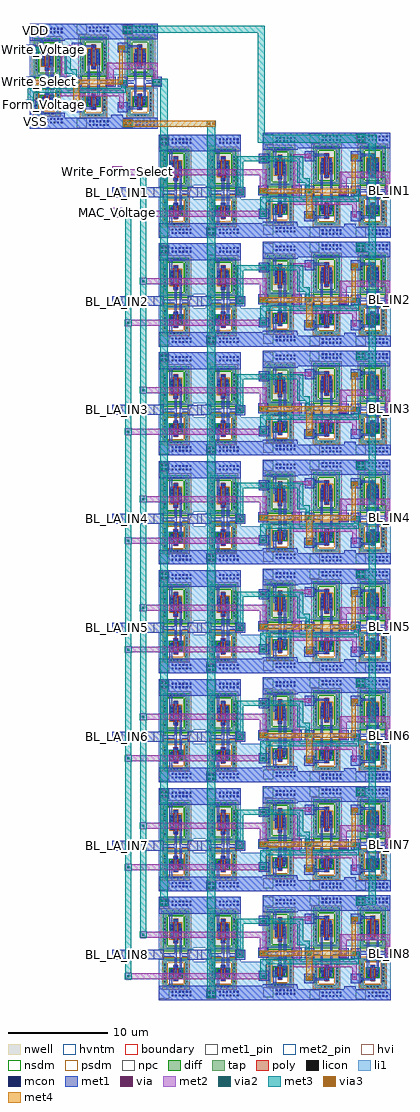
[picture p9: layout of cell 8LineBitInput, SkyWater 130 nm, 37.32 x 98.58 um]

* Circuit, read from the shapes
.subckt 8LineBitInput BL_IN1 BL_IN2 BL_IN3 BL_IN4 BL_IN5 BL_IN6 BL_IN7 BL_IN8 BL_LA_IN1 BL_LA_IN2 BL_LA_IN3 BL_LA_IN4 BL_LA_IN5 BL_LA_IN6 BL_LA_IN7 BL_LA_IN8 Form_Voltage MAC_Voltage VDD VSS Write_Form_Select Write_Select Write_Voltage
XM1 2-1MUX_0/TransmissionGate_1/SN Write_Select VSS VSS sky130_fd_pr__nfet_g5v0d10v5 w=0.75 l=0.5
XM2 2-1MUX_0/OUT Write_Select Write_Voltage VSS sky130_fd_pr__nfet_g5v0d10v5 w=0.75 l=0.5
XM3 2-1MUX_0/OUT 2-1MUX_0/TransmissionGate_1/SN Form_Voltage VSS sky130_fd_pr__nfet_g5v0d10v5 w=0.75 l=0.5
XM4 1LineBitInput_1/Buffer_0/Inverter_0/Vin BL_LA_IN8 VSS VSS sky130_fd_pr__nfet_g5v0d10v5 w=0.75 l=0.5
XM5 1LineBitInput_2/Buffer_0/Inverter_0/Vin BL_LA_IN7 VSS VSS sky130_fd_pr__nfet_g5v0d10v5 w=0.75 l=0.5
XM6 1LineBitInput_3/Buffer_0/Inverter_0/Vin BL_LA_IN6 VSS VSS sky130_fd_pr__nfet_g5v0d10v5 w=0.75 l=0.5
XM7 1LineBitInput_4/Buffer_0/Inverter_0/Vin BL_LA_IN5 VSS VSS sky130_fd_pr__nfet_g5v0d10v5 w=0.75 l=0.5
XM8 1LineBitInput_5/Buffer_0/Inverter_0/Vin BL_LA_IN4 VSS VSS sky130_fd_pr__nfet_g5v0d10v5 w=0.75 l=0.5
XM9 1LineBitInput_6/Buffer_0/Inverter_0/Vin BL_LA_IN3 VSS VSS sky130_fd_pr__nfet_g5v0d10v5 w=0.75 l=0.5
XM10 1LineBitInput_7/Buffer_0/Inverter_0/Vin BL_LA_IN2 VSS VSS sky130_fd_pr__nfet_g5v0d10v5 w=0.75 l=0.5
XM11 1LineBitInput_8/Buffer_0/Inverter_0/Vin BL_LA_IN1 VSS VSS sky130_fd_pr__nfet_g5v0d10v5 w=0.75 l=0.5
XM12 1LineBitInput_1/2-1MUX_1/A 1LineBitInput_1/Buffer_0/Inverter_0/Vin VSS VSS sky130_fd_pr__nfet_g5v0d10v5 w=0.75 l=0.5
XM13 1LineBitInput_2/2-1MUX_1/A 1LineBitInput_2/Buffer_0/Inverter_0/Vin VSS VSS sky130_fd_pr__nfet_g5v0d10v5 w=0.75 l=0.5
XM14 1LineBitInput_3/2-1MUX_1/A 1LineBitInput_3/Buffer_0/Inverter_0/Vin VSS VSS sky130_fd_pr__nfet_g5v0d10v5 w=0.75 l=0.5
XM15 1LineBitInput_4/2-1MUX_1/A 1LineBitInput_4/Buffer_0/Inverter_0/Vin VSS VSS sky130_fd_pr__nfet_g5v0d10v5 w=0.75 l=0.5
XM16 1LineBitInput_5/2-1MUX_1/A 1LineBitInput_5/Buffer_0/Inverter_0/Vin VSS VSS sky130_fd_pr__nfet_g5v0d10v5 w=0.75 l=0.5
XM17 1LineBitInput_6/2-1MUX_1/A 1LineBitInput_6/Buffer_0/Inverter_0/Vin VSS VSS sky130_fd_pr__nfet_g5v0d10v5 w=0.75 l=0.5
XM18 1LineBitInput_7/2-1MUX_1/A 1LineBitInput_7/Buffer_0/Inverter_0/Vin VSS VSS sky130_fd_pr__nfet_g5v0d10v5 w=0.75 l=0.5
XM19 1LineBitInput_8/2-1MUX_1/A 1LineBitInput_8/Buffer_0/Inverter_0/Vin VSS VSS sky130_fd_pr__nfet_g5v0d10v5 w=0.75 l=0.5
XM20 1LineBitInput_1/2-1MUX_1/TransmissionGate_1/SN Write_Form_Select VSS VSS sky130_fd_pr__nfet_g5v0d10v5 w=0.75 l=0.5
XM21 1LineBitInput_2/2-1MUX_1/TransmissionGate_1/SN Write_Form_Select VSS VSS sky130_fd_pr__nfet_g5v0d10v5 w=0.75 l=0.5
XM22 1LineBitInput_3/2-1MUX_1/TransmissionGate_1/SN Write_Form_Select VSS VSS sky130_fd_pr__nfet_g5v0d10v5 w=0.75 l=0.5
XM23 1LineBitInput_4/2-1MUX_1/TransmissionGate_1/SN Write_Form_Select VSS VSS sky130_fd_pr__nfet_g5v0d10v5 w=0.75 l=0.5
XM24 1LineBitInput_5/2-1MUX_1/TransmissionGate_1/SN Write_Form_Select VSS VSS sky130_fd_pr__nfet_g5v0d10v5 w=0.75 l=0.5
XM25 1LineBitInput_6/2-1MUX_1/TransmissionGate_1/SN Write_Form_Select VSS VSS sky130_fd_pr__nfet_g5v0d10v5 w=0.75 l=0.5
XM26 1LineBitInput_7/2-1MUX_1/TransmissionGate_1/SN Write_Form_Select VSS VSS sky130_fd_pr__nfet_g5v0d10v5 w=0.75 l=0.5
XM27 1LineBitInput_8/2-1MUX_1/TransmissionGate_1/SN Write_Form_Select VSS VSS sky130_fd_pr__nfet_g5v0d10v5 w=0.75 l=0.5
XM28 BL_IN8 Write_Form_Select 1LineBitInput_1/2-1MUX_1/A VSS sky130_fd_pr__nfet_g5v0d10v5 w=0.75 l=0.5
XM29 BL_IN7 Write_Form_Select 1LineBitInput_2/2-1MUX_1/A VSS sky130_fd_pr__nfet_g5v0d10v5 w=0.75 l=0.5
XM30 BL_IN6 Write_Form_Select 1LineBitInput_3/2-1MUX_1/A VSS sky130_fd_pr__nfet_g5v0d10v5 w=0.75 l=0.5
XM31 BL_IN5 Write_Form_Select 1LineBitInput_4/2-1MUX_1/A VSS sky130_fd_pr__nfet_g5v0d10v5 w=0.75 l=0.5
XM32 BL_IN4 Write_Form_Select 1LineBitInput_5/2-1MUX_1/A VSS sky130_fd_pr__nfet_g5v0d10v5 w=0.75 l=0.5
XM33 BL_IN3 Write_Form_Select 1LineBitInput_6/2-1MUX_1/A VSS sky130_fd_pr__nfet_g5v0d10v5 w=0.75 l=0.5
XM34 BL_IN2 Write_Form_Select 1LineBitInput_7/2-1MUX_1/A VSS sky130_fd_pr__nfet_g5v0d10v5 w=0.75 l=0.5
XM35 BL_IN1 Write_Form_Select 1LineBitInput_8/2-1MUX_1/A VSS sky130_fd_pr__nfet_g5v0d10v5 w=0.75 l=0.5
XM36 BL_IN8 1LineBitInput_1/2-1MUX_1/TransmissionGate_1/SN MAC_Voltage VSS sky130_fd_pr__nfet_g5v0d10v5 w=0.75 l=0.5
XM37 BL_IN7 1LineBitInput_2/2-1MUX_1/TransmissionGate_1/SN MAC_Voltage VSS sky130_fd_pr__nfet_g5v0d10v5 w=0.75 l=0.5
XM38 BL_IN6 1LineBitInput_3/2-1MUX_1/TransmissionGate_1/SN MAC_Voltage VSS sky130_fd_pr__nfet_g5v0d10v5 w=0.75 l=0.5
XM39 BL_IN5 1LineBitInput_4/2-1MUX_1/TransmissionGate_1/SN MAC_Voltage VSS sky130_fd_pr__nfet_g5v0d10v5 w=0.75 l=0.5
XM40 BL_IN4 1LineBitInput_5/2-1MUX_1/TransmissionGate_1/SN MAC_Voltage VSS sky130_fd_pr__nfet_g5v0d10v5 w=0.75 l=0.5
XM41 BL_IN3 1LineBitInput_6/2-1MUX_1/TransmissionGate_1/SN MAC_Voltage VSS sky130_fd_pr__nfet_g5v0d10v5 w=0.75 l=0.5
XM42 BL_IN2 1LineBitInput_7/2-1MUX_1/TransmissionGate_1/SN MAC_Voltage VSS sky130_fd_pr__nfet_g5v0d10v5 w=0.75 l=0.5
XM43 BL_IN1 1LineBitInput_8/2-1MUX_1/TransmissionGate_1/SN MAC_Voltage VSS sky130_fd_pr__nfet_g5v0d10v5 w=0.75 l=0.5
XM44 2-1MUX_0/TransmissionGate_1/SN Write_Select VDD VDD sky130_fd_pr__pfet_g5v0d10v5 w=1.5 l=0.5
XM45 2-1MUX_0/OUT 2-1MUX_0/TransmissionGate_1/SN Write_Voltage VDD sky130_fd_pr__pfet_g5v0d10v5 w=1.5 l=0.5
XM46 2-1MUX_0/OUT Write_Select Form_Voltage VDD sky130_fd_pr__pfet_g5v0d10v5 w=1.5 l=0.5
XM47 1LineBitInput_1/Buffer_0/Inverter_0/Vin BL_LA_IN8 2-1MUX_0/OUT 2-1MUX_0/OUT sky130_fd_pr__pfet_g5v0d10v5 w=1.5 l=0.5
XM48 1LineBitInput_2/Buffer_0/Inverter_0/Vin BL_LA_IN7 2-1MUX_0/OUT 2-1MUX_0/OUT sky130_fd_pr__pfet_g5v0d10v5 w=1.5 l=0.5
XM49 1LineBitInput_3/Buffer_0/Inverter_0/Vin BL_LA_IN6 2-1MUX_0/OUT 2-1MUX_0/OUT sky130_fd_pr__pfet_g5v0d10v5 w=1.5 l=0.5
XM50 1LineBitInput_4/Buffer_0/Inverter_0/Vin BL_LA_IN5 2-1MUX_0/OUT 2-1MUX_0/OUT sky130_fd_pr__pfet_g5v0d10v5 w=1.5 l=0.5
XM51 1LineBitInput_5/Buffer_0/Inverter_0/Vin BL_LA_IN4 2-1MUX_0/OUT 2-1MUX_0/OUT sky130_fd_pr__pfet_g5v0d10v5 w=1.5 l=0.5
XM52 1LineBitInput_6/Buffer_0/Inverter_0/Vin BL_LA_IN3 2-1MUX_0/OUT 2-1MUX_0/OUT sky130_fd_pr__pfet_g5v0d10v5 w=1.5 l=0.5
XM53 1LineBitInput_7/Buffer_0/Inverter_0/Vin BL_LA_IN2 2-1MUX_0/OUT 2-1MUX_0/OUT sky130_fd_pr__pfet_g5v0d10v5 w=1.5 l=0.5
XM54 1LineBitInput_8/Buffer_0/Inverter_0/Vin BL_LA_IN1 2-1MUX_0/OUT 2-1MUX_0/OUT sky130_fd_pr__pfet_g5v0d10v5 w=1.5 l=0.5
XM55 1LineBitInput_1/2-1MUX_1/A 1LineBitInput_1/Buffer_0/Inverter_0/Vin 2-1MUX_0/OUT 2-1MUX_0/OUT sky130_fd_pr__pfet_g5v0d10v5 w=1.5 l=0.5
XM56 1LineBitInput_2/2-1MUX_1/A 1LineBitInput_2/Buffer_0/Inverter_0/Vin 2-1MUX_0/OUT 2-1MUX_0/OUT sky130_fd_pr__pfet_g5v0d10v5 w=1.5 l=0.5
XM57 1LineBitInput_3/2-1MUX_1/A 1LineBitInput_3/Buffer_0/Inverter_0/Vin 2-1MUX_0/OUT 2-1MUX_0/OUT sky130_fd_pr__pfet_g5v0d10v5 w=1.5 l=0.5
XM58 1LineBitInput_4/2-1MUX_1/A 1LineBitInput_4/Buffer_0/Inverter_0/Vin 2-1MUX_0/OUT 2-1MUX_0/OUT sky130_fd_pr__pfet_g5v0d10v5 w=1.5 l=0.5
XM59 1LineBitInput_5/2-1MUX_1/A 1LineBitInput_5/Buffer_0/Inverter_0/Vin 2-1MUX_0/OUT 2-1MUX_0/OUT sky130_fd_pr__pfet_g5v0d10v5 w=1.5 l=0.5
XM60 1LineBitInput_6/2-1MUX_1/A 1LineBitInput_6/Buffer_0/Inverter_0/Vin 2-1MUX_0/OUT 2-1MUX_0/OUT sky130_fd_pr__pfet_g5v0d10v5 w=1.5 l=0.5
XM61 1LineBitInput_7/2-1MUX_1/A 1LineBitInput_7/Buffer_0/Inverter_0/Vin 2-1MUX_0/OUT 2-1MUX_0/OUT sky130_fd_pr__pfet_g5v0d10v5 w=1.5 l=0.5
XM62 1LineBitInput_8/2-1MUX_1/A 1LineBitInput_8/Buffer_0/Inverter_0/Vin 2-1MUX_0/OUT 2-1MUX_0/OUT sky130_fd_pr__pfet_g5v0d10v5 w=1.5 l=0.5
XM63 1LineBitInput_1/2-1MUX_1/TransmissionGate_1/SN Write_Form_Select VDD VDD sky130_fd_pr__pfet_g5v0d10v5 w=1.5 l=0.5
XM64 1LineBitInput_2/2-1MUX_1/TransmissionGate_1/SN Write_Form_Select VDD VDD sky130_fd_pr__pfet_g5v0d10v5 w=1.5 l=0.5
XM65 1LineBitInput_3/2-1MUX_1/TransmissionGate_1/SN Write_Form_Select VDD VDD sky130_fd_pr__pfet_g5v0d10v5 w=1.5 l=0.5
XM66 1LineBitInput_4/2-1MUX_1/TransmissionGate_1/SN Write_Form_Select VDD VDD sky130_fd_pr__pfet_g5v0d10v5 w=1.5 l=0.5
XM67 1LineBitInput_5/2-1MUX_1/TransmissionGate_1/SN Write_Form_Select VDD VDD sky130_fd_pr__pfet_g5v0d10v5 w=1.5 l=0.5
XM68 1LineBitInput_6/2-1MUX_1/TransmissionGate_1/SN Write_Form_Select VDD VDD sky130_fd_pr__pfet_g5v0d10v5 w=1.5 l=0.5
XM69 1LineBitInput_7/2-1MUX_1/TransmissionGate_1/SN Write_Form_Select VDD VDD sky130_fd_pr__pfet_g5v0d10v5 w=1.5 l=0.5
XM70 1LineBitInput_8/2-1MUX_1/TransmissionGate_1/SN Write_Form_Select VDD VDD sky130_fd_pr__pfet_g5v0d10v5 w=1.5 l=0.5
XM71 BL_IN8 1LineBitInput_1/2-1MUX_1/TransmissionGate_1/SN 1LineBitInput_1/2-1MUX_1/A VDD sky130_fd_pr__pfet_g5v0d10v5 w=1.5 l=0.5
XM72 BL_IN7 1LineBitInput_2/2-1MUX_1/TransmissionGate_1/SN 1LineBitInput_2/2-1MUX_1/A VDD sky130_fd_pr__pfet_g5v0d10v5 w=1.5 l=0.5
XM73 BL_IN6 1LineBitInput_3/2-1MUX_1/TransmissionGate_1/SN 1LineBitInput_3/2-1MUX_1/A VDD sky130_fd_pr__pfet_g5v0d10v5 w=1.5 l=0.5
XM74 BL_IN5 1LineBitInput_4/2-1MUX_1/TransmissionGate_1/SN 1LineBitInput_4/2-1MUX_1/A VDD sky130_fd_pr__pfet_g5v0d10v5 w=1.5 l=0.5
XM75 BL_IN4 1LineBitInput_5/2-1MUX_1/TransmissionGate_1/SN 1LineBitInput_5/2-1MUX_1/A VDD sky130_fd_pr__pfet_g5v0d10v5 w=1.5 l=0.5
XM76 BL_IN3 1LineBitInput_6/2-1MUX_1/TransmissionGate_1/SN 1LineBitInput_6/2-1MUX_1/A VDD sky130_fd_pr__pfet_g5v0d10v5 w=1.5 l=0.5
XM77 BL_IN2 1LineBitInput_7/2-1MUX_1/TransmissionGate_1/SN 1LineBitInput_7/2-1MUX_1/A VDD sky130_fd_pr__pfet_g5v0d10v5 w=1.5 l=0.5
XM78 BL_IN1 1LineBitInput_8/2-1MUX_1/TransmissionGate_1/SN 1LineBitInput_8/2-1MUX_1/A VDD sky130_fd_pr__pfet_g5v0d10v5 w=1.5 l=0.5
XM79 BL_IN8 Write_Form_Select MAC_Voltage VDD sky130_fd_pr__pfet_g5v0d10v5 w=1.5 l=0.5
XM80 BL_IN7 Write_Form_Select MAC_Voltage VDD sky130_fd_pr__pfet_g5v0d10v5 w=1.5 l=0.5
XM81 BL_IN6 Write_Form_Select MAC_Voltage VDD sky130_fd_pr__pfet_g5v0d10v5 w=1.5 l=0.5
XM82 BL_IN5 Write_Form_Select MAC_Voltage VDD sky130_fd_pr__pfet_g5v0d10v5 w=1.5 l=0.5
XM83 BL_IN4 Write_Form_Select MAC_Voltage VDD sky130_fd_pr__pfet_g5v0d10v5 w=1.5 l=0.5
XM84 BL_IN3 Write_Form_Select MAC_Voltage VDD sky130_fd_pr__pfet_g5v0d10v5 w=1.5 l=0.5
XM85 BL_IN2 Write_Form_Select MAC_Voltage VDD sky130_fd_pr__pfet_g5v0d10v5 w=1.5 l=0.5
XM86 BL_IN1 Write_Form_Select MAC_Voltage VDD sky130_fd_pr__pfet_g5v0d10v5 w=1.5 l=0.5
.ends

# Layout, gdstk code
import gdstk
lib = gdstk.Library(unit=1e-6, precision=1e-09)
def R(c, l, rs):  # rectangles x0, y0, x1, y1
    for r in rs: c.add(gdstk.rectangle(r[:2], r[2:], *l))
def A(c, l, x, y, w, h, nx, ny, dx, dy):  # array of equal rectangles
    R(c, l, [(x+i*dx, y+j*dy, x+i*dx+w, y+j*dy+h) for i in range(nx) for j in range(ny)])
nwell = (64, 20)
diff = (65, 20)
tap = (65, 44)
poly = (66, 20)
licon = (66, 44)
li1 = (67, 20)
mcon = (67, 44)
met1_pin = (68, 16)
met1 = (68, 20)
via = (68, 44)
met2_pin = (69, 16)
met2 = (69, 20)
via2 = (69, 44)
met3 = (70, 20)
via3 = (70, 44)
met4 = (71, 20)
hvi = (75, 20)
nsdm = (93, 44)
psdm = (94, 20)
npc = (95, 20)
hvntm = (125, 20)
boundary = (235, 4)

sky130_fd_pr__pfet_g5v0d = lib.new_cell('sky130_fd_pr__pfet_g5v0d10v5_7EBZY6')
R(sky130_fd_pr__pfet_g5v0d, nwell, [(-1.54,-2.235,1.54,2.235)])
R(sky130_fd_pr__pfet_g5v0d, diff, [(-0.54,-0.75,0.54,0.75)])
R(sky130_fd_pr__pfet_g5v0d, tap, [(-1.21,-1.905,1.21,-1.615), (-1.21,-1.615,-0.92,1.615), (0.92,-1.615,1.21,1.615), (-1.21,1.615,1.21,1.905)])
R(sky130_fd_pr__pfet_g5v0d, poly, [(-0.25,-1.235,0.25,1.235)])
A(sky130_fd_pr__pfet_g5v0d, licon, -0.595, -1.845, 0.17, 0.17, 4, 2, 0.34, 3.52)
A(sky130_fd_pr__pfet_g5v0d, licon, -1.15, -1.275, 0.17, 0.17, 1, 8, 0, 0.34)
A(sky130_fd_pr__pfet_g5v0d, licon, 0.98, -1.275, 0.17, 0.17, 1, 8, 0, 0.34)
A(sky130_fd_pr__pfet_g5v0d, licon, -0.48, -0.595, 0.17, 0.17, 1, 4, 0, 0.34)
A(sky130_fd_pr__pfet_g5v0d, licon, 0.31, -0.595, 0.17, 0.17, 1, 4, 0, 0.34)
R(sky130_fd_pr__pfet_g5v0d, licon, [(-0.085,-1.155,0.085,-0.985), (-0.085,0.985,0.085,1.155)])
R(sky130_fd_pr__pfet_g5v0d, li1, [(-1.15,-1.845,1.15,-1.675), (-1.15,-1.675,-0.98,1.675), (0.98,-1.675,1.15,1.675), (-0.25,-1.155,0.25,-0.985), (-0.48,-0.77,-0.31,0.77), (0.31,-0.77,0.48,0.77), (-0.25,0.985,0.25,1.155), (-1.15,1.675,1.15,1.845)])
A(sky130_fd_pr__pfet_g5v0d, mcon, -0.48, -0.625, 0.17, 0.17, 1, 4, 0, 0.36)
A(sky130_fd_pr__pfet_g5v0d, mcon, 0.31, -0.625, 0.17, 0.17, 1, 4, 0, 0.36)
R(sky130_fd_pr__pfet_g5v0d, mcon, [(-0.085,-1.155,0.085,-0.985), (-0.085,0.985,0.085,1.155)])
R(sky130_fd_pr__pfet_g5v0d, met1, [(-0.23,-1.185,0.23,-0.955), (-0.51,-0.75,-0.28,0.75), (0.28,-0.75,0.51,0.75), (-0.23,0.955,0.23,1.185)])
R(sky130_fd_pr__pfet_g5v0d, hvi, [(-1.54,-2.235,1.54,2.235)])
R(sky130_fd_pr__pfet_g5v0d, nsdm, [(-1.335,-2.03,1.335,-1.49), (-1.335,-1.49,-0.795,1.49), (0.795,-1.49,1.335,1.49), (-1.335,1.49,1.335,2.03)])
R(sky130_fd_pr__pfet_g5v0d, psdm, [(-0.665,-0.875,0.665,0.875)])
R(sky130_fd_pr__pfet_g5v0d, npc, [(-0.185,-1.255,0.185,-0.885), (-0.185,0.885,0.185,1.255)])
R(sky130_fd_pr__pfet_g5v0d, boundary, [(-1.065,-1.76,1.065,1.76)])

sky130_fd_pr__nfet_g5v0d = lib.new_cell('sky130_fd_pr__nfet_g5v0d10v5_6XHARQ')
R(sky130_fd_pr__nfet_g5v0d, diff, [(-0.54,-0.375,0.54,0.375)])
R(sky130_fd_pr__nfet_g5v0d, tap, [(-1.21,-1.485,1.21,-1.195), (-1.21,-1.195,-0.92,1.195), (0.92,-1.195,1.21,1.195), (-1.21,1.195,1.21,1.485)])
R(sky130_fd_pr__nfet_g5v0d, poly, [(-0.25,-0.815,0.25,0.815)])
A(sky130_fd_pr__nfet_g5v0d, licon, -0.595, -1.425, 0.17, 0.17, 4, 2, 0.34, 2.68)
A(sky130_fd_pr__nfet_g5v0d, licon, -1.15, -0.935, 0.17, 0.17, 1, 6, 0, 0.34)
A(sky130_fd_pr__nfet_g5v0d, licon, 0.98, -0.935, 0.17, 0.17, 1, 6, 0, 0.34)
R(sky130_fd_pr__nfet_g5v0d, licon, [(-0.085,-0.735,0.085,-0.565), (-0.48,-0.255,-0.31,-0.085), (0.31,-0.255,0.48,-0.085), (-0.48,0.085,-0.31,0.255), (0.31,0.085,0.48,0.255), (-0.085,0.565,0.085,0.735)])
R(sky130_fd_pr__nfet_g5v0d, li1, [(-1.15,-1.425,1.15,-1.255), (-1.15,-1.255,-0.98,1.255), (0.98,-1.255,1.15,1.255), (-0.25,-0.735,0.25,-0.565), (-0.48,-0.395,-0.31,0.395), (0.31,-0.395,0.48,0.395), (-0.25,0.565,0.25,0.735), (-1.15,1.255,1.15,1.425)])
R(sky130_fd_pr__nfet_g5v0d, mcon, [(-0.085,-0.735,0.085,-0.565), (-0.48,-0.265,-0.31,-0.095), (0.31,-0.265,0.48,-0.095), (-0.48,0.095,-0.31,0.265), (0.31,0.095,0.48,0.265), (-0.085,0.565,0.085,0.735)])
R(sky130_fd_pr__nfet_g5v0d, met1, [(-0.23,-0.765,0.23,-0.535), (-0.51,-0.375,-0.28,0.375), (0.28,-0.375,0.51,0.375), (-0.23,0.535,0.23,0.765)])
R(sky130_fd_pr__nfet_g5v0d, hvi, [(-1.395,-1.67,1.395,1.67)])
R(sky130_fd_pr__nfet_g5v0d, nsdm, [(-0.665,-0.5,0.665,0.5)])
R(sky130_fd_pr__nfet_g5v0d, psdm, [(-1.335,-1.61,1.335,-1.07), (-1.335,-1.07,-0.795,1.07), (0.795,-1.07,1.335,1.07), (-1.335,1.07,1.335,1.61)])
R(sky130_fd_pr__nfet_g5v0d, npc, [(-0.185,-0.835,0.185,-0.465), (-0.185,0.465,0.185,0.835)])
R(sky130_fd_pr__nfet_g5v0d, hvntm, [(-0.725,-0.56,0.725,0.56)])
R(sky130_fd_pr__nfet_g5v0d, boundary, [(-1.065,-1.34,1.065,1.34)])

inverter = lib.new_cell('Inverter')
R(inverter, li1, [(4.95,-2.22,8.45,-0.93), (4.95,-0.93,5.73,1.91), (7.67,-0.93,8.45,1.91), (4.95,1.91,5.54,1.92), (7.84,1.91,8.45,1.92), (4.95,2.9,5.56,2.92), (7.84,2.9,8.46,2.92), (4.95,2.92,5.73,6.43), (7.67,2.92,8.46,6.43), (4.95,6.43,8.46,8.19)])
A(inverter, mcon, 6.275, -1.835, 0.17, 0.17, 6, 2, 0.36, 0.36)
A(inverter, mcon, 6.275, 7.275, 0.17, 0.17, 6, 2, 0.36, 0.36)
R(inverter, met1_pin, [(5,-2.1,6,-1.1), (7.9,1.86,8.9,2.86), (4.48,1.88,5.48,2.88), (5.01,7.07,6.01,8.07)])
R(inverter, met1, [(4.95,-2.22,8.45,-0.77), (6.02,-0.77,6.31,0.59), (6.6,-0.24,6.77,0.96), (7.06,0.35,7.31,2.16), (6.57,0.96,6.8,2.16), (7.9,1.86,8.9,2.16), (4.48,1.88,5.48,2.16), (4.48,2.16,6.8,2.51), (7.06,2.16,8.9,2.51), (4.48,2.51,5.48,2.88), (6.57,2.51,6.8,3.9), (7.06,2.51,7.31,5.02), (7.9,2.51,8.9,2.86), (6.59,3.9,6.79,5.89), (6.02,4.75,6.31,6.5), (7.19,5.02,7.31,5.03), (4.95,6.5,8.46,8.19)])
R(inverter, hvi, [(5.295,2.165,8.085,2.51)])
inverter.add(gdstk.Reference(sky130_fd_pr__pfet_g5v0d, (6.69,4.745)))
inverter.add(gdstk.Reference(sky130_fd_pr__nfet_g5v0d, (6.69,0.495)))
inverter.add(gdstk.Label('Vin', (4.98,2.38), layer=68, texttype=5))
inverter.add(gdstk.Label('VDD', (5.51,7.57), layer=68, texttype=5))
inverter.add(gdstk.Label('VSS', (5.5,-1.6), layer=68, texttype=5))
inverter.add(gdstk.Label('Vout', (8.4,2.36), layer=68, texttype=5))

transmissiongate = lib.new_cell('TransmissionGate')
R(transmissiongate, li1, [(1.07,2.1,4.66,3.51), (1.07,3.51,1.71,6.26), (3.79,3.51,4.66,6.26), (1.07,7.52,1.71,10.17), (4.01,7.52,4.65,11.06), (1.07,10.17,1.78,10.78), (1.07,10.78,1.71,11.06), (1.07,11.06,4.65,12.68)])
A(transmissiongate, mcon, 2.4, 2.405, 0.17, 0.17, 6, 2, 0.36, 0.36)
A(transmissiongate, mcon, 2.39, 11.885, 0.17, 0.17, 6, 2, 0.36, 0.36)
R(transmissiongate, met1_pin, [(1.15,2.16,2.15,3.16), (0.63,3.77,1.63,4.77), (0.64,6.33,1.64,7.33), (4.08,6.33,5.08,7.33), (0.64,9.81,1.64,10.81), (1.14,11.64,2.14,12.64)])
R(transmissiongate, met1, [(1.07,2.1,4.66,3.2), (0.63,3.77,1.63,4.07), (0.63,4.07,2.72,4.3), (0.63,4.3,1.63,4.77), (2.75,4.3,2.96,5.56), (2.27,4.79,2.48,6.67), (3.24,4.81,3.45,6.67), (0.64,6.33,1.64,6.67), (4.08,6.33,5.08,6.67), (0.64,6.67,2.48,7.01), (3.24,6.67,5.08,7.01), (0.64,7.01,1.64,7.33), (2.27,7.01,2.48,9.72), (3.24,7.01,3.45,9.74), (4.08,7.01,5.08,7.33), (2.75,8.2,2.97,10.32), (0.64,9.81,1.64,10.32), (0.64,10.32,3.01,10.55), (0.64,10.55,1.64,10.81), (1.07,11.13,4.65,12.68)])
R(transmissiongate, hvi, [(1.465,6.505,4.255,7.13)])
transmissiongate.add(gdstk.Reference(sky130_fd_pr__pfet_g5v0d, (2.86,9.365)))
transmissiongate.add(gdstk.Reference(sky130_fd_pr__nfet_g5v0d, (2.86,4.835)))
transmissiongate.add(gdstk.Label('Out', (4.58,6.83), layer=68, texttype=5))
transmissiongate.add(gdstk.Label('In', (1.14,6.83), layer=68, texttype=5))
transmissiongate.add(gdstk.Label('SP', (1.14,10.31), layer=68, texttype=5))
transmissiongate.add(gdstk.Label('VDD', (1.64,12.14), layer=68, texttype=5))
transmissiongate.add(gdstk.Label('VSS', (1.65,2.66), layer=68, texttype=5))
transmissiongate.add(gdstk.Label('SN', (1.13,4.27), layer=68, texttype=5))

c_2_1mux = lib.new_cell('2-1MUX')
R(c_2_1mux, li1, [(-4.21,3,0.44,3.16), (4.03,3,5.13,7.16), (-0.71,3.16,0.44,4.1), (-0.71,4.1,0.5,4.5), (-0.71,4.5,0.44,7.3), (-0.7,8.28,0.45,11.88), (4.02,8.42,5.17,13.58), (-0.925,11.88,0.47,12.015), (-0.7,12.015,0.45,13.57), (-4.21,13.57,0.45,13.58)])
R(c_2_1mux, met1_pin, [(-4.16,3.28,-3.16,4.28), (-4.62,4.93,-3.62,5.93), (8.12,7.22,9.12,8.22), (-4.68,7.26,-3.68,8.26), (-4.62,10.49,-3.62,11.49), (-4.15,12.45,-3.15,13.45)])
R(c_2_1mux, met1, [(-4.21,3,0.44,3.16), (4.03,3,5.19,4.41), (-0.71,3.16,0.44,4.1), (-4.16,3.28,-3.16,4.28), (-0.71,4.1,-0.7,4.41), (-4.62,4.93,-3.62,5.93), (0.14,4.98,0.83,5.38), (4.77,5.12,5.33,5.48), (8.12,7.22,9.12,8.22), (-4.68,7.26,-3.68,8.26), (3.51,7.37,4.31,7.88), (4.82,7.45,5.57,7.86), (-1.16,7.46,-0.42,7.95), (0.07,7.53,0.76,7.84), (-4.62,10.49,-3.62,11.49), (4.73,10.96,5.42,11.36), (0.16,11.05,0.72,11.42), (-0.7,12.015,0.47,13.57), (4,12.03,5.28,13.58), (-4.15,12.45,-3.15,13.45), (-4.21,13.57,0.47,13.58)])
R(c_2_1mux, via, [(0.25,5.105,0.4,5.255), (0.57,5.105,0.72,5.255), (4.975,5.225,5.125,5.375), (-4.38,5.34,-4.23,5.49), (-4.06,5.34,-3.91,5.49), (3.675,7.55,3.825,7.7), (3.995,7.55,4.145,7.7), (4.96,7.58,5.11,7.73), (5.28,7.58,5.43,7.73), (0.18,7.61,0.33,7.76), (0.5,7.61,0.65,7.76), (8.385,7.62,8.535,7.77), (8.705,7.62,8.855,7.77), (-1.025,7.63,-0.875,7.78), (-0.705,7.63,-0.555,7.78), (-4.395,7.645,-4.245,7.795), (-4.075,7.645,-3.925,7.795), (-4.4,10.89,-4.25,11.04), (-4.08,10.89,-3.93,11.04), (4.84,11.085,4.99,11.235), (5.16,11.085,5.31,11.235), (0.365,11.16,0.515,11.31)])
R(c_2_1mux, met2, [(0.19,4.93,0.78,5.43), (4.82,5.07,5.28,6.3), (-4.45,5.11,-3.84,5.72), (-1.11,6.3,5.28,6.92), (-1.11,6.92,-0.47,11.05), (3.56,7.32,4.26,9.03), (8.27,7.39,8.97,7.73), (4.87,7.4,5.52,7.91), (-4.5,7.42,-3.82,8.02), (0.12,7.48,0.71,7.89), (8.23,7.73,8.97,7.98), (8.23,7.98,8.69,9.03), (3.56,9.03,8.69,9.65), (-4.47,10.66,-3.86,11.27), (4.78,10.91,5.37,11.41), (0.21,11,0.67,11.05), (-1.11,11.05,0.67,11.42), (0.21,11.42,0.67,11.47)])
R(c_2_1mux, via2, [(0.385,5.08,0.585,5.28), (-4.245,5.315,-4.045,5.515), (5.095,7.555,5.295,7.755), (0.315,7.585,0.515,7.785), (-4.46,7.62,-4.26,7.82), (-4.06,7.62,-3.86,7.82), (-4.265,10.865,-4.065,11.065), (4.975,11.06,5.175,11.26)])
R(c_2_1mux, met3, [(0.14,4.955,0.83,5.405), (-4.5,5.135,-3.79,5.695), (-4.45,5.695,-3.84,6.62), (-4.45,6.62,5.49,7.11), (5.02,7.11,5.49,7.425), (4.82,7.425,5.57,7.885), (-4.55,7.445,-3.77,7.995), (0.07,7.505,0.76,7.865), (0.13,7.865,0.52,8.55), (-0.71,8.55,0.52,8.99), (-0.71,8.99,-0.11,10.71), (-4.52,10.685,-3.81,10.71), (-4.52,10.71,-0.11,11.22), (4.73,10.935,5.42,11.385), (-4.52,11.22,-3.81,11.245)])
R(c_2_1mux, via3, [(0.385,5.08,0.585,5.28), (-4.26,7.62,-4.06,7.82), (4.975,11.06,5.175,11.26)])
R(c_2_1mux, met4, [(0.185,4.975,0.785,5.13), (0.18,5.13,0.785,5.385), (0.18,5.385,0.77,7.47), (-4.505,7.465,-3.815,7.47), (-4.505,7.47,5.18,7.96), (-4.505,7.96,-3.815,7.975), (4.8,7.96,5.18,10.955), (4.775,10.955,5.375,11.365)])
c_2_1mux.add(gdstk.Reference(inverter, (-9.16,5.38)))
c_2_1mux.add(gdstk.Reference(transmissiongate, (4.04,0.9)))
c_2_1mux.add(gdstk.Reference(transmissiongate, (-0.63,0.9)))
c_2_1mux.add(gdstk.Label('A', (-4.12,10.99), layer=68, texttype=5))
c_2_1mux.add(gdstk.Label('B', (-4.12,5.43), layer=68, texttype=5))
c_2_1mux.add(gdstk.Label('S', (-4.18,7.76), layer=68, texttype=5))
c_2_1mux.add(gdstk.Label('VDD', (-3.65,12.95), layer=68, texttype=5))
c_2_1mux.add(gdstk.Label('VSS', (-3.66,3.78), layer=68, texttype=5))
c_2_1mux.add(gdstk.Label('OUT', (8.62,7.72), layer=68, texttype=5))

buffer = lib.new_cell('Buffer')
R(buffer, li1, [(13.26,6.8,14.54,10.67), (13.26,12.09,14.54,15.53), (13.27,15.53,14.54,17.21)])
R(buffer, met1_pin, [(9.79,6.94,10.79,7.94), (17.49,10.88,18.49,11.88), (9.29,10.9,10.29,11.9), (9.82,16.09,10.82,17.09)])
R(buffer, met1, [(13.26,6.8,14.54,8.25), (9.79,6.94,10.79,7.94), (13.65,10.88,14.36,11.9), (17.49,10.88,18.49,11.88), (9.29,10.9,10.29,11.9), (13.27,15.52,14.54,17.21), (9.82,16.09,10.82,17.09)])
buffer.add(gdstk.Reference(inverter, (9.59,9.02)))
buffer.add(gdstk.Reference(inverter, (4.81,9.02)))
buffer.add(gdstk.Label('VDD', (10.32,16.59), layer=68, texttype=5))
buffer.add(gdstk.Label('VSS', (10.29,7.44), layer=68, texttype=5))
buffer.add(gdstk.Label('Vin', (9.79,11.4), layer=68, texttype=5))
buffer.add(gdstk.Label('Vout', (17.99,11.38), layer=68, texttype=5))

c_1linebitinput = lib.new_cell('1LineBitInput')
R(c_1linebitinput, li1, [(30.56,15.8,33.1,19.67)])
R(c_1linebitinput, met1_pin, [(22.38,15.92,23.38,16.92), (32.44,17.73,33.44,18.73), (21.86,19.9,22.86,20.9), (45.18,20.03,46.18,21.03), (32.38,20.06,33.38,21.06), (22.39,25.09,23.39,26.09), (32.91,25.25,33.91,26.25)])
R(c_1linebitinput, met1, [(30.61,15.8,32.85,17.25), (22.38,15.92,23.38,16.92), (32.44,17.73,33.44,18.73), (21.86,19.9,22.86,20.9), (45.18,20.03,46.18,21.03), (32.38,20.06,33.38,21.06), (30.15,20.1,30.92,20.71), (22.39,25.09,23.39,26.09), (32.91,25.25,33.91,26.25)])
R(c_1linebitinput, via, [(30.3,20.17,30.45,20.32), (30.62,20.17,30.77,20.32), (30.3,20.49,30.45,20.64), (30.62,20.49,30.77,20.64)])
R(c_1linebitinput, met2, [(30.2,20.05,30.87,20.76)])
R(c_1linebitinput, via2, [(30.435,20.305,30.635,20.505)])
R(c_1linebitinput, met3, [(30.15,20.075,30.92,20.735), (30.2,20.735,30.87,23.51), (30.2,23.51,33.16,24.02)])
c_1linebitinput.add(gdstk.Reference(buffer, (12.57,9)))
c_1linebitinput.add(gdstk.Reference(c_2_1mux, (37.06,12.8)))
c_1linebitinput.add(gdstk.Label('BL_LA_IN', (22.36,20.4), layer=68, texttype=5))
c_1linebitinput.add(gdstk.Label('Write_Form_select', (32.88,20.56), layer=68, texttype=5))
c_1linebitinput.add(gdstk.Label('MAC_Read', (32.94,18.23), layer=68, texttype=5))
c_1linebitinput.add(gdstk.Label('VDD', (33.41,25.75), layer=68, texttype=5))
c_1linebitinput.add(gdstk.Label('VDD_MUX', (22.89,25.59), layer=68, texttype=5))
c_1linebitinput.add(gdstk.Label('VSS', (22.88,16.42), layer=68, texttype=5))
c_1linebitinput.add(gdstk.Label('BL_IN', (45.68,20.53), layer=68, texttype=5))

c_8linebitinput = lib.new_cell('8LineBitInput')
A(c_8linebitinput, met1_pin, 165.8, 21.1, 1, 1, 1, 8, 0, 11)
A(c_8linebitinput, met1_pin, 193.32, 21.23, 1, 1, 1, 8, 0, 11)
R(c_8linebitinput, met1_pin, [(157.52,105.28,158.52,106.28), (157.06,106.93,158.06,107.93), (157,109.26,158,110.26), (157.06,112.49,158.06,113.49), (157.53,114.45,158.53,115.45)])
A(c_8linebitinput, met1, 175.35, 17.2, 0.9, 0.7, 1, 4, 0, 11)
A(c_8linebitinput, met1, 165.8, 21.1, 4.2, 1, 1, 7, 0, 11)
A(c_8linebitinput, met1, 193.32, 21.23, 1, 1, 1, 8, 0, 11)
A(c_8linebitinput, met1, 190.45, 26.6, 0.9, 0.8, 1, 5, 0, 11)
R(c_8linebitinput, met1, [(170.56,26.485,171.45,27.185), (170.575,37.455,171.465,38.155), (170.575,48.48,171.465,49.18), (170.575,59.5,171.465,60.2), (175.35,61.3,176.25,62), (170.56,70.46,171.45,71.16), (175.35,72.2,176.25,72.9), (170.57,81.53,171.46,82.23), (190.45,81.7,191.35,82.5), (175.35,83.3,176.25,84), (170.56,92.455,171.45,93.155), (190.45,92.6,191.35,93.4), (175.35,94.3,176.25,95), (165.8,98.1,170.2,99.1), (170.57,103.405,171.46,104.105), (190.45,103.6,191.35,104.4), (166.85,105.2,167.85,105.9), (157.52,105.28,158.52,106.28), (157.06,106.93,158.06,107.93), (157,109.26,158,110.26), (157.06,112.49,158.06,113.49), (157.53,114.45,158.53,115.45), (166.85,114.6,167.85,115.4)])
A(c_8linebitinput, via, 166.955, 105.315, 0.15, 0.15, 3, 2, 0.32, 0.32)
A(c_8linebitinput, via, 166.955, 114.765, 0.15, 0.15, 3, 2, 0.32, 0.32)
R(c_8linebitinput, via, [(175.565,17.315,175.715,17.465), (175.885,17.315,176.035,17.465), (175.565,17.635,175.715,17.785), (175.885,17.635,176.035,17.785), (170.77,26.6,170.92,26.75), (171.09,26.6,171.24,26.75), (190.665,26.765,190.815,26.915), (190.985,26.765,191.135,26.915), (170.77,26.92,170.92,27.07), (171.09,26.92,171.24,27.07), (190.665,27.085,190.815,27.235), (190.985,27.085,191.135,27.235), (175.565,28.315,175.715,28.465), (175.885,28.315,176.035,28.465), (175.565,28.635,175.715,28.785), (175.885,28.635,176.035,28.785), (170.785,37.57,170.935,37.72), (171.105,37.57,171.255,37.72), (190.665,37.765,190.815,37.915), (190.985,37.765,191.135,37.915), (170.785,37.89,170.935,38.04), (171.105,37.89,171.255,38.04), (190.665,38.085,190.815,38.235), (190.985,38.085,191.135,38.235), (175.565,39.315,175.715,39.465), (175.885,39.315,176.035,39.465), (175.565,39.635,175.715,39.785), (175.885,39.635,176.035,39.785), (170.785,48.595,170.935,48.745), (171.105,48.595,171.255,48.745), (190.665,48.765,190.815,48.915), (190.985,48.765,191.135,48.915), (170.785,48.915,170.935,49.065), (171.105,48.915,171.255,49.065), (190.665,49.085,190.815,49.235), (190.985,49.085,191.135,49.235), (175.565,50.315,175.715,50.465), (175.885,50.315,176.035,50.465), (175.565,50.635,175.715,50.785), (175.885,50.635,176.035,50.785), (170.785,59.615,170.935,59.765), (171.105,59.615,171.255,59.765), (190.665,59.765,190.815,59.915), (190.985,59.765,191.135,59.915), (170.785,59.935,170.935,60.085), (171.105,59.935,171.255,60.085), (190.665,60.085,190.815,60.235), (190.985,60.085,191.135,60.235), (175.565,61.415,175.715,61.565), (175.885,61.415,176.035,61.565), (175.565,61.735,175.715,61.885), (175.885,61.735,176.035,61.885), (170.77,70.575,170.92,70.725), (171.09,70.575,171.24,70.725), (190.665,70.765,190.815,70.915), (190.985,70.765,191.135,70.915), (170.77,70.895,170.92,71.045), (171.09,70.895,171.24,71.045), (190.665,71.085,190.815,71.235), (190.985,71.085,191.135,71.235), (175.565,72.315,175.715,72.465), (175.885,72.315,176.035,72.465), (175.565,72.635,175.715,72.785), (175.885,72.635,176.035,72.785), (170.78,81.645,170.93,81.795), (171.1,81.645,171.25,81.795), (190.665,81.865,190.815,82.015), (190.985,81.865,191.135,82.015), (170.78,81.965,170.93,82.115), (171.1,81.965,171.25,82.115), (190.665,82.185,190.815,82.335), (190.985,82.185,191.135,82.335), (175.565,83.415,175.715,83.565), (175.885,83.415,176.035,83.565), (175.565,83.735,175.715,83.885), (175.885,83.735,176.035,83.885), (170.77,92.57,170.92,92.72), (171.09,92.57,171.24,92.72), (190.665,92.765,190.815,92.915), (190.985,92.765,191.135,92.915), (170.77,92.89,170.92,93.04), (171.09,92.89,171.24,93.04), (190.665,93.085,190.815,93.235), (190.985,93.085,191.135,93.235), (175.565,94.415,175.715,94.565), (175.885,94.415,176.035,94.565), (175.565,94.735,175.715,94.885), (175.885,94.735,176.035,94.885), (170.78,103.52,170.93,103.67), (171.1,103.52,171.25,103.67), (190.665,103.765,190.815,103.915), (190.985,103.765,191.135,103.915), (170.78,103.84,170.93,103.99), (171.1,103.84,171.25,103.99), (190.665,104.085,190.815,104.235), (190.985,104.085,191.135,104.235)])
R(c_8linebitinput, met2_pin, [(165.8,96,166.8,97), (165.8,100.2,166.8,101.2)])
A(c_8linebitinput, met2, 175.4, 17.15, 0.8, 0.8, 1, 4, 0, 11)
A(c_8linebitinput, met2, 167.1, 19.1, 14.1, 0.6, 1, 7, 0, 11)
A(c_8linebitinput, met2, 180.7, 21.6, 0.7, 1.7, 1, 8, 0, 11)
A(c_8linebitinput, met2, 168.6, 23.3, 12.8, 0.6, 1, 7, 0, 11)
A(c_8linebitinput, met2, 190.5, 26.55, 0.8, 0.9, 1, 5, 0, 11)
R(c_8linebitinput, met2, [(167.1,19.05,167.7,19.1), (167.1,19.7,167.7,19.75), (168.6,23.25,169.2,23.3), (168.6,23.9,169.2,23.95), (170.61,26.435,171.4,27.235), (167.1,30.05,167.7,30.1), (167.1,30.7,167.7,30.75), (168.6,34.25,169.2,34.3), (168.6,34.9,169.2,34.95), (170.625,37.405,171.415,38.205), (167.1,41.05,167.7,41.1), (167.1,41.7,167.7,41.75), (168.6,45.25,169.2,45.3), (168.6,45.9,169.2,45.95), (170.625,48.43,171.415,49.23), (167.1,52.05,167.7,52.1), (167.1,52.7,167.7,52.75), (168.6,56.25,169.2,56.3), (168.6,56.9,169.2,56.95), (170.625,59.45,171.415,60.25), (175.4,61.25,176.2,62.05), (167.1,63.05,167.7,63.1), (167.1,63.7,167.7,63.75), (168.6,67.25,169.2,67.3), (168.6,67.9,169.2,67.95), (170.61,70.41,171.4,71.21), (175.4,72.15,176.2,72.95), (167.1,74.05,167.7,74.1), (167.1,74.7,167.7,74.75), (168.6,78.25,169.2,78.3), (168.6,78.9,169.2,78.95), (170.62,81.48,171.41,82.28), (190.5,81.65,191.3,82.55), (175.4,83.25,176.2,84.05), (167.1,85.05,167.7,85.1), (167.1,85.7,167.7,85.75), (168.6,89.25,169.2,89.3), (168.6,89.9,169.2,89.95), (170.61,92.405,171.4,93.205), (190.5,92.55,191.3,93.45), (175.4,94.25,176.2,95.05), (165.8,96,166.8,96.1), (167.1,96.05,167.7,96.1), (165.8,96.1,181.2,96.7), (165.8,96.7,166.8,97), (167.1,96.7,167.7,96.75), (165.8,100.2,166.8,100.3), (168.6,100.25,169.2,100.3), (165.8,100.3,181.4,100.9), (165.8,100.9,166.8,101.2), (168.6,100.9,169.2,100.95), (170.62,103.355,171.41,104.155), (190.5,103.55,191.3,104.45), (166.9,105.15,167.8,105.95), (169.93,109.35,170.665,110.035), (166.9,114.55,167.8,115.45)])
A(c_8linebitinput, via2, 167.3, 19.3, 0.2, 0.2, 1, 8, 0, 11)
A(c_8linebitinput, via2, 168.8, 23.5, 0.2, 0.2, 1, 8, 0, 11)
R(c_8linebitinput, via2, [(175.5,17.25,175.7,17.45), (175.9,17.25,176.1,17.45), (175.5,17.65,175.7,17.85), (175.9,17.65,176.1,17.85), (170.705,26.535,170.905,26.735), (171.105,26.535,171.305,26.735), (190.6,26.7,190.8,26.9), (191,26.7,191.2,26.9), (170.705,26.935,170.905,27.135), (171.105,26.935,171.305,27.135), (190.6,27.1,190.8,27.3), (191,27.1,191.2,27.3), (175.5,28.25,175.7,28.45), (175.9,28.25,176.1,28.45), (175.5,28.65,175.7,28.85), (175.9,28.65,176.1,28.85), (170.72,37.505,170.92,37.705), (171.12,37.505,171.32,37.705), (190.6,37.7,190.8,37.9), (191,37.7,191.2,37.9), (170.72,37.905,170.92,38.105), (171.12,37.905,171.32,38.105), (190.6,38.1,190.8,38.3), (191,38.1,191.2,38.3), (175.5,39.25,175.7,39.45), (175.9,39.25,176.1,39.45), (175.5,39.65,175.7,39.85), (175.9,39.65,176.1,39.85), (170.72,48.53,170.92,48.73), (171.12,48.53,171.32,48.73), (190.6,48.7,190.8,48.9), (191,48.7,191.2,48.9), (170.72,48.93,170.92,49.13), (171.12,48.93,171.32,49.13), (190.6,49.1,190.8,49.3), (191,49.1,191.2,49.3), (175.5,50.25,175.7,50.45), (175.9,50.25,176.1,50.45), (175.5,50.65,175.7,50.85), (175.9,50.65,176.1,50.85), (170.72,59.55,170.92,59.75), (171.12,59.55,171.32,59.75), (190.6,59.7,190.8,59.9), (191,59.7,191.2,59.9), (170.72,59.95,170.92,60.15), (171.12,59.95,171.32,60.15), (190.6,60.1,190.8,60.3), (191,60.1,191.2,60.3), (175.5,61.35,175.7,61.55), (175.9,61.35,176.1,61.55), (175.5,61.75,175.7,61.95), (175.9,61.75,176.1,61.95), (170.705,70.51,170.905,70.71), (171.105,70.51,171.305,70.71), (190.6,70.7,190.8,70.9), (191,70.7,191.2,70.9), (170.705,70.91,170.905,71.11), (171.105,70.91,171.305,71.11), (190.6,71.1,190.8,71.3), (191,71.1,191.2,71.3), (175.5,72.25,175.7,72.45), (175.9,72.25,176.1,72.45), (175.5,72.65,175.7,72.85), (175.9,72.65,176.1,72.85), (170.715,81.58,170.915,81.78), (171.115,81.58,171.315,81.78), (190.6,81.8,190.8,82), (191,81.8,191.2,82), (170.715,81.98,170.915,82.18), (171.115,81.98,171.315,82.18), (190.6,82.2,190.8,82.4), (191,82.2,191.2,82.4), (175.5,83.35,175.7,83.55), (175.9,83.35,176.1,83.55), (175.5,83.75,175.7,83.95), (175.9,83.75,176.1,83.95), (170.705,92.505,170.905,92.705), (171.105,92.505,171.305,92.705), (190.6,92.7,190.8,92.9), (191,92.7,191.2,92.9), (170.705,92.905,170.905,93.105), (171.105,92.905,171.305,93.105), (190.6,93.1,190.8,93.3), (191,93.1,191.2,93.3), (175.5,94.35,175.7,94.55), (175.9,94.35,176.1,94.55), (175.5,94.75,175.7,94.95), (175.9,94.75,176.1,94.95), (170.715,103.455,170.915,103.655), (171.115,103.455,171.315,103.655), (190.6,103.7,190.8,103.9), (191,103.7,191.2,103.9), (170.715,103.855,170.915,104.055), (171.115,103.855,171.315,104.055), (190.6,104.1,190.8,104.3), (191,104.1,191.2,104.3), (167.05,105.25,167.25,105.45), (167.45,105.25,167.65,105.45), (167.05,105.65,167.25,105.85), (167.45,105.65,167.65,105.85), (169.995,109.59,170.195,109.79), (170.395,109.59,170.595,109.79), (167.05,114.7,167.25,114.9), (167.45,114.7,167.65,114.9), (167.05,115.1,167.25,115.3), (167.45,115.1,167.65,115.3)])
A(c_8linebitinput, met3, 175.35, 17.175, 0.9, 0.75, 1, 4, 0, 11)
A(c_8linebitinput, met3, 175.4, 17.925, 0.8, 10.25, 1, 3, 0, 11)
A(c_8linebitinput, met3, 167.05, 19.075, 0.7, 0.65, 1, 8, 0, 11)
A(c_8linebitinput, met3, 167.1, 19.725, 0.6, 10.35, 1, 7, 0, 11)
A(c_8linebitinput, met3, 168.55, 23.275, 0.7, 0.65, 1, 8, 0, 11)
A(c_8linebitinput, met3, 168.6, 23.925, 0.6, 10.35, 1, 7, 0, 11)
A(c_8linebitinput, met3, 190.45, 26.6, 1.95, 0.8, 1, 5, 0, 11)
A(c_8linebitinput, met3, 191.7, 27.4, 0.7, 10.2, 1, 4, 0, 11)
R(c_8linebitinput, met3, [(170.56,26.46,171.45,27.21), (190.45,26.575,191.35,26.6), (170.62,27.21,171.4,37.43), (190.45,27.4,191.35,27.425), (170.575,37.43,171.465,38.18), (190.45,37.575,191.35,37.6), (170.62,38.18,171.4,48.455), (190.45,38.4,191.35,38.425), (170.575,48.455,171.465,49.205), (190.45,48.575,191.35,48.6), (170.62,49.205,171.4,59.475), (190.45,49.4,191.35,49.425), (175.4,50.925,176.2,61.275), (170.575,59.475,171.465,60.225), (190.45,59.575,191.35,59.6), (170.62,60.225,171.4,70.435), (190.45,60.4,191.35,60.425), (175.35,61.275,176.25,62.025), (175.4,62.025,176.2,72.175), (170.56,70.435,171.45,71.185), (190.45,70.575,191.35,70.6), (170.62,71.185,171.4,81.505), (190.45,71.4,191.35,71.425), (191.7,71.4,192.4,81.7), (175.35,72.175,176.25,72.925), (175.4,72.925,176.2,83.275), (170.57,81.505,171.46,82.255), (190.45,81.675,191.35,81.7), (190.45,81.7,192.4,82.5), (170.62,82.255,171.4,92.43), (190.45,82.5,191.35,82.525), (191.7,82.5,192.4,92.6), (175.35,83.275,176.25,84.025), (175.4,84.025,176.2,94.275), (170.56,92.43,171.45,93.18), (190.45,92.575,191.35,92.6), (190.45,92.6,192.4,93.4), (170.62,93.18,171.4,103.38), (190.45,93.4,191.35,93.425), (191.7,93.4,192.4,103.6), (175.35,94.275,176.25,95.025), (175.4,95.025,176.2,105.2), (170.57,103.38,171.46,104.13), (190.45,103.575,191.35,103.6), (180.5,103.6,192.5,104.4), (170.62,104.13,171.41,109.375), (180.5,104.4,181.2,114.7), (190.45,104.4,191.35,104.425), (166.85,105.175,167.85,105.925), (175.35,105.2,176.25,105.8), (169.88,109.375,171.41,110.01), (170.62,110.01,171.41,110.035), (166.85,114.575,167.85,114.7), (166.85,114.7,181.2,115.4), (166.85,115.4,167.85,115.425)])
R(c_8linebitinput, via3, [(175.5,105.4,175.7,105.6), (175.9,105.4,176.1,105.6), (167.05,105.45,167.25,105.65), (167.45,105.45,167.65,105.65)])
R(c_8linebitinput, met4, [(166.895,105.195,167.805,105.2), (175.395,105.195,176.205,105.2), (166.895,105.2,176.205,105.8), (166.895,105.8,167.805,105.905), (175.395,105.8,176.205,105.805)])
c_8linebitinput.add(gdstk.Reference(c_2_1mux, (161.68,102)))
c_8linebitinput.add(gdstk.Reference(c_1linebitinput, (148.14,1.2)))
c_8linebitinput.add(gdstk.Reference(c_1linebitinput, (148.14,12.2)))
c_8linebitinput.add(gdstk.Reference(c_1linebitinput, (148.14,23.2)))
c_8linebitinput.add(gdstk.Reference(c_1linebitinput, (148.14,34.2)))
c_8linebitinput.add(gdstk.Reference(c_1linebitinput, (148.14,45.2)))
c_8linebitinput.add(gdstk.Reference(c_1linebitinput, (148.14,56.2)))
c_8linebitinput.add(gdstk.Reference(c_1linebitinput, (148.14,67.2)))
c_8linebitinput.add(gdstk.Reference(c_1linebitinput, (148.14,78.2)))
c_8linebitinput.add(gdstk.Label('Write_Select', (157.5,109.76), layer=68, texttype=5))
c_8linebitinput.add(gdstk.Label('Write_Voltage', (157.56,112.99), layer=68, texttype=5))
c_8linebitinput.add(gdstk.Label('Form_Voltage', (157.56,107.43), layer=68, texttype=5))
c_8linebitinput.add(gdstk.Label('BL_LA_IN1', (166.3,98.6), layer=68, texttype=5))
c_8linebitinput.add(gdstk.Label('BL_LA_IN3', (166.3,76.6), layer=68, texttype=5))
c_8linebitinput.add(gdstk.Label('BL_LA_IN6', (166.3,43.6), layer=68, texttype=5))
c_8linebitinput.add(gdstk.Label('BL_LA_IN4', (166.3,65.6), layer=68, texttype=5))
c_8linebitinput.add(gdstk.Label('BL_LA_IN5', (166.3,54.6), layer=68, texttype=5))
c_8linebitinput.add(gdstk.Label('BL_LA_IN7', (166.3,32.6), layer=68, texttype=5))
c_8linebitinput.add(gdstk.Label('BL_LA_IN8', (166.3,21.6), layer=68, texttype=5))
c_8linebitinput.add(gdstk.Label('BL_LA_IN2', (166.3,87.6), layer=68, texttype=5))
c_8linebitinput.add(gdstk.Label('Write_Form_Select', (166.3,100.7), layer=69, texttype=5))
c_8linebitinput.add(gdstk.Label('MAC_Voltage', (166.3,96.5), layer=69, texttype=5))
c_8linebitinput.add(gdstk.Label('BL_IN1', (193.82,98.73), layer=68, texttype=5))
c_8linebitinput.add(gdstk.Label('BL_IN2', (193.82,87.73), layer=68, texttype=5))
c_8linebitinput.add(gdstk.Label('BL_IN3', (193.82,76.73), layer=68, texttype=5))
c_8linebitinput.add(gdstk.Label('BL_IN4', (193.82,65.73), layer=68, texttype=5))
c_8linebitinput.add(gdstk.Label('BL_IN5', (193.82,54.73), layer=68, texttype=5))
c_8linebitinput.add(gdstk.Label('BL_IN6', (193.82,43.73), layer=68, texttype=5))
c_8linebitinput.add(gdstk.Label('BL_IN7', (193.82,32.73), layer=68, texttype=5))
c_8linebitinput.add(gdstk.Label('BL_IN8', (193.82,21.73), layer=68, texttype=5))
c_8linebitinput.add(gdstk.Label('VDD', (158.03,114.95), layer=68, texttype=5))
c_8linebitinput.add(gdstk.Label('VSS', (158.02,105.78), layer=68, texttype=5))

lib.write_gds('8LineBitInput.gds')
